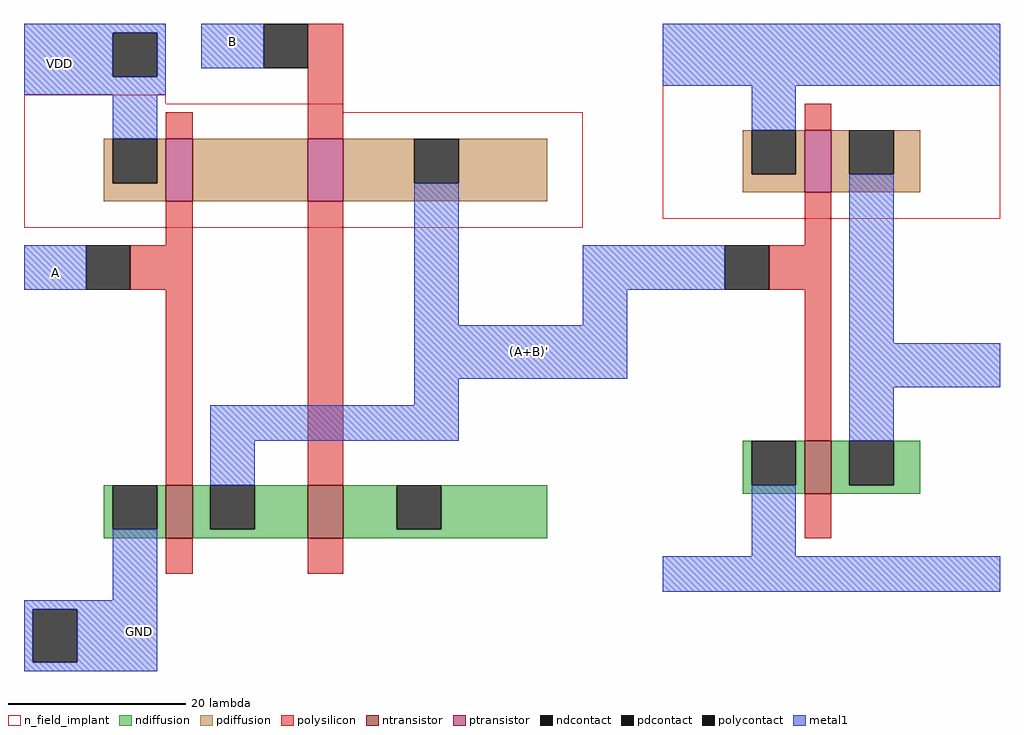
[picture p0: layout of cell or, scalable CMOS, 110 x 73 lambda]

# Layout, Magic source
magic
tech scmos
<< n_field_implant >>
rect -19 13 -3 14
rect -19 12 17 13
rect -19 -1 44 12
<< ntransistor >>
rect -3 -36 0 -30
rect 13 -36 17 -30
<< ptransistor >>
rect -3 2 0 9
rect 13 2 17 9
<< ndiffusion >>
rect -10 -35 -9 -30
rect -4 -35 -3 -30
rect -10 -36 -3 -35
rect 0 -35 2 -30
rect 7 -35 13 -30
rect 0 -36 13 -35
rect 17 -35 23 -30
rect 28 -35 40 -30
rect 17 -36 40 -35
<< pdiffusion >>
rect -10 4 -9 9
rect -4 4 -3 9
rect -10 2 -3 4
rect 0 2 13 9
rect 17 4 25 9
rect 30 4 40 9
rect 17 2 40 4
<< ndcontact >>
rect -9 -35 -4 -30
rect 2 -35 7 -30
rect 23 -35 28 -30
rect -18 -50 -13 -44
<< pdcontact >>
rect -9 16 -4 21
rect -9 4 -4 9
rect 25 4 30 9
<< polysilicon >>
rect -3 9 0 12
rect 13 9 17 22
rect -3 -3 0 2
rect -7 -8 0 -3
rect -3 -30 0 -8
rect 13 -30 17 2
rect -3 -40 0 -36
rect 13 -40 17 -36
<< polycontact >>
rect 8 17 13 22
rect -12 -8 -7 -3
<< metal1 >>
rect -19 21 -3 22
rect -19 16 -9 21
rect -4 16 -3 21
rect 1 17 8 22
rect -19 14 -3 16
rect -9 9 -4 14
rect -19 -8 -12 -3
rect 25 -12 30 4
rect 44 -8 54 -3
rect 44 -12 49 -8
rect 25 -18 49 -12
rect 25 -21 30 -18
rect 2 -25 30 -21
rect 2 -30 7 -25
rect -9 -43 -4 -35
rect -19 -44 -4 -43
rect -19 -50 -18 -44
rect -13 -50 -4 -44
rect -19 -51 -4 -50
use not  not_0
transform 1 0 72 0 1 1
box -19 -43 19 21
<< labels >>
rlabel metal1 -17 -7 -14 -5 3 A
rlabel metal1 -8 -48 -4 -45 8 GND
rlabel metal1 35 -16 41 -14 1 (A+B)'
rlabel metal1 -17 16 -13 19 4 VDD
rlabel metal1 3 19 6 21 5 B
<< end >>

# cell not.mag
magic
tech scmos
<< n_field_implant >>
rect -19 -1 19 21
<< ntransistor >>
rect -3 -32 0 -26
<< ptransistor >>
rect -3 2 0 9
<< ndiffusion >>
rect -10 -31 -9 -26
rect -4 -31 -3 -26
rect -10 -32 -3 -31
rect 0 -31 2 -26
rect 7 -31 10 -26
rect 0 -32 10 -31
<< pdiffusion >>
rect -10 4 -9 9
rect -4 4 -3 9
rect -10 2 -3 4
rect 0 4 2 9
rect 7 4 10 9
rect 0 2 10 4
<< ndcontact >>
rect -9 -31 -4 -26
rect 2 -31 7 -26
<< pdcontact >>
rect -9 4 -4 9
rect 2 4 7 9
<< polysilicon >>
rect -3 9 0 12
rect -3 -4 0 2
rect -7 -9 0 -4
rect -3 -26 0 -9
rect -3 -37 0 -32
<< polycontact >>
rect -12 -9 -7 -4
<< metal1 >>
rect -19 14 19 21
rect -9 9 -4 14
rect -18 -9 -12 -4
rect 2 -15 7 4
rect 2 -20 19 -15
rect 2 -26 7 -20
rect -9 -39 -4 -31
rect -19 -43 19 -39
<< labels >>
rlabel metal1 -16 16 -13 18 5 VDD
rlabel metal1 -17 -43 -15 -41 1 GND
<< end >>
